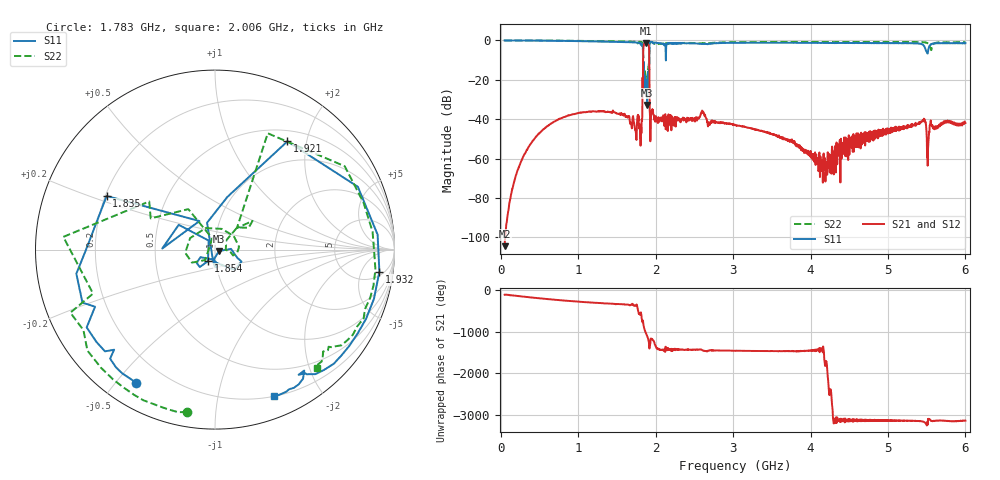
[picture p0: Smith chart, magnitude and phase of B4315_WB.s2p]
! Matrix data file written by TouchstoneData, EPCOS AG
! FILENAME: "B4315_WB_matched.s2p"
! COMMENT: "including matching"
! INFO: nport=2, nfreq=1601
! DATE: "Thu Jan 31 15:53:01 2013"
! USER: "Michael Schemies"
! port | pin | signal
!  1  |  1  |  in
!  2  |  4  |  out
# MHZ S MA R 50
! freq  magS11 angS11  magS21 angS21  magS12 angS12  magS22 angS22
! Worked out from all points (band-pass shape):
!   1601 points, 50 MHz to 6 GHz, reference 50 ohm
!   highest |S21| = -1.21 dB at 1.872 GHz (marker M1); lowest = -104.4 dB at 50 MHz (marker M2)
!   |S21| within 3 dB of the highest: 1.842 GHz to 1.915 GHz (73.21 MHz wide, 3.9 % of centre)
!   lowest |S11| = -32.7 dB at 1.891 GHz (marker M3), VSWR 1.05, Z = 52.2 - j0.847 ohm
!   |S11| at or under -10 dB: 1.837 GHz to 1.917 GHz (79.88 MHz wide, 4.26 % of centre); 2.132415 GHz to 2.132569 GHz (153.8 kHz wide, 0.00721 % of centre)
!   |S22| runs from -24.5 to 0.0 dB; largest |S21 - S12| = 0
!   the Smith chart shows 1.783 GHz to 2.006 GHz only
!   S11 on the Smith chart (normalised r, x): 1.783 GHz: 0.10, -0.57; 1.835 GHz: 0.21, +0.22; 1.854 GHz: 0.92, -0.12; 1.921 GHz: 0.66, +1.68; 1.932 GHz: 7, -11; 2.006 GHz: 0.21, -1.47
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50  1 165.6  6.001e-06 -107.9  6.001e-06 -107.9  1 172.8
377.25  0.996 79.0  0.002248 -169.8  0.002248 -169.8  0.9991 124.0
663.5938  0.9805 21.4  0.008059 137.2  0.008059 137.2  0.9937 77.1
1042.906  0.957 -30.6  0.01477 80.9  0.01477 80.9  0.9764 14.8
1518.906  0.9204 -76.5  0.01353 26.8  0.01353 26.8  0.9455 -50.1
1782.938  0.8619 -120.7  0.007698 150.9  0.007698 150.9  0.919 -99.7
1805.25  0.7919 -135.2  0.002126 163.4  0.002126 163.4  0.9261 -119.3
1835  0.6738 153.7  0.04848 -6.2  0.04848 -6.2  0.848 175.2
1853.594  0.07457 -121.2  0.827 156.7  0.827 156.7  0.07996 -133.3
1872.188  0.05779 -96.0  0.8699 59.8  0.8699 59.8  0.1215 71.9
1890.781  0.02307 -20.6  0.845 -24.6  0.845 -24.6  0.08529 -7.2
1920.531  0.7257 56.2  0.09912 38.4  0.09912 38.4  0.7116 65.6
1931.688  0.9242 -7.7  0.002756 164.9  0.002756 164.9  0.8835 6.4
1954  0.9177 -43.9  0.01746 -101.3  0.01746 -101.3  0.9125 -24.8
2006.062  0.8786 -67.9  0.01115 70.9  0.01115 70.9  0.8712 -49.2
2035.812  0.8517 -73.9  0.01133 24.6  0.01133 24.6  0.8374 -55.7
3025  0.8722 -114.9  0.007225 -15.0  0.007225 -15.0  0.902 -106.5
4017.906  0.8736 -137.7  0.001324 -8.6  0.001324 -8.6  0.9151 -134.0
4185.25  0.8727 -140.7  0.001042 25.4  0.001042 25.4  0.9131 -138.2
5010.812  0.8603 -155.3  0.005724 101.5  0.005724 101.5  0.9129 -156.9
5512.844  0.465 -149.5  0.0006626 5.5  0.0006626 5.5  0.8505 -174.7
6000  0.8523 -167.6  0.008038 102.6  0.008038 102.6  0.9072 -172.2
